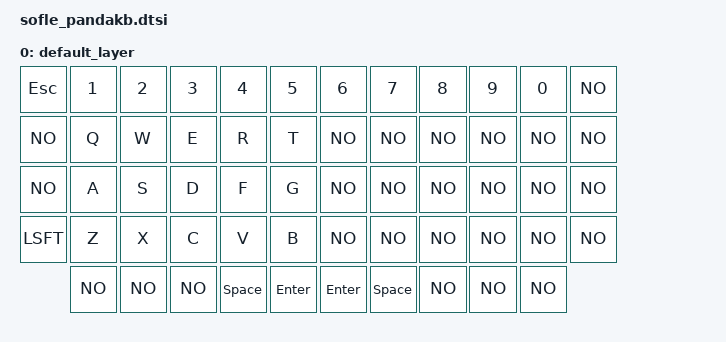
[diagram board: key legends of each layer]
/ {
    keymap {
        compatible = "zmk,keymap";

        default_layer {
            bindings = <
                // Row 0 — 13 touches
                &kp ESC &kp 1  &kp 2  &kp 3  &kp 4  &kp 5      &kp 6  &kp 7  &kp 8  &kp 9  &kp 0  &kp NO 

                // Row 1 — 13 touches
                &kp NO  &kp Q  &kp W  &kp E  &kp R  &kp T      &kp NO  &kp NO  &kp NO  &kp NO  &kp NO  &kp NO  

                // Row 2 — 13 touches
                &kp NO  &kp A  &kp S  &kp D  &kp F  &kp G      &kp NO  &kp NO  &kp NO  &kp NO  &kp NO  &kp NO  

                // Row 3 — 13 touches
                &kp LSFT  &kp Z  &kp X  &kp C  &kp V  &kp B      &kp NO  &kp NO  &kp NO  &kp NO  &kp NO  &kp NO  

                // Row 4 — 12 touches
                &kp NO  &kp NO  &kp NO  &kp Space &kp Enter      &kp Enter  &kp Space  &kp NO  &kp NO  &kp NO 
            >;
        };
    };
};
